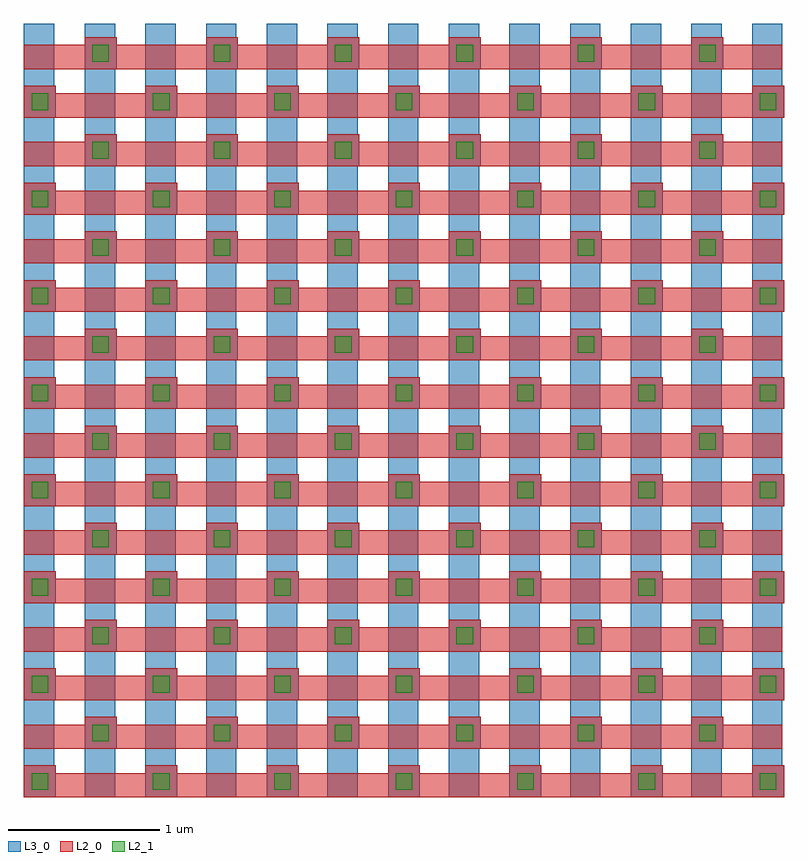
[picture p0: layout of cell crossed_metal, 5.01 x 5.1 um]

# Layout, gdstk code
import gdstk
lib = gdstk.Library(unit=1e-6, precision=1e-09)
def R(c, l, rs):  # rectangles x0, y0, x1, y1
    for r in rs: c.add(gdstk.rectangle(r[:2], r[2:], *l))
def A(c, l, x, y, w, h, nx, ny, dx, dy):  # array of equal rectangles
    R(c, l, [(x+i*dx, y+j*dy, x+i*dx+w, y+j*dy+h) for i in range(nx) for j in range(ny)])
L2_0 = (2, 0)
L2_1 = (2, 1)
L3_0 = (3, 0)

m1_m2__1 = lib.new_cell('M1_M2$$1')
R(m1_m2__1, L2_0, [(0,0,0.21,0.21)])
R(m1_m2__1, L2_1, [(0.05,0.05,0.16,0.16)])
R(m1_m2__1, L3_0, [(0,0,0.21,0.21)])

crossed_metal = lib.new_cell('crossed_metal')
A(crossed_metal, L2_0, 0, 0, 5, 0.16, 1, 16, 0, 0.32)
A(crossed_metal, L3_0, 0, 0, 0.2, 5.1, 13, 1, 0.4, 0)
crossed_metal.add(gdstk.Reference(m1_m2__1, (0,0)))
crossed_metal.add(gdstk.Reference(m1_m2__1, (0.8,0)))
crossed_metal.add(gdstk.Reference(m1_m2__1, (1.6,0)))
crossed_metal.add(gdstk.Reference(m1_m2__1, (2.4,0)))
crossed_metal.add(gdstk.Reference(m1_m2__1, (3.2,0)))
crossed_metal.add(gdstk.Reference(m1_m2__1, (4,0)))
crossed_metal.add(gdstk.Reference(m1_m2__1, (4.8,0)))
crossed_metal.add(gdstk.Reference(m1_m2__1, (0.4,0.32)))
crossed_metal.add(gdstk.Reference(m1_m2__1, (1.2,0.32)))
crossed_metal.add(gdstk.Reference(m1_m2__1, (2,0.32)))
crossed_metal.add(gdstk.Reference(m1_m2__1, (2.8,0.32)))
crossed_metal.add(gdstk.Reference(m1_m2__1, (3.6,0.32)))
crossed_metal.add(gdstk.Reference(m1_m2__1, (4.4,0.32)))
crossed_metal.add(gdstk.Reference(m1_m2__1, (0,0.64)))
crossed_metal.add(gdstk.Reference(m1_m2__1, (0.8,0.64)))
crossed_metal.add(gdstk.Reference(m1_m2__1, (1.6,0.64)))
crossed_metal.add(gdstk.Reference(m1_m2__1, (2.4,0.64)))
crossed_metal.add(gdstk.Reference(m1_m2__1, (3.2,0.64)))
crossed_metal.add(gdstk.Reference(m1_m2__1, (4,0.64)))
crossed_metal.add(gdstk.Reference(m1_m2__1, (4.8,0.64)))
crossed_metal.add(gdstk.Reference(m1_m2__1, (0.4,0.96)))
crossed_metal.add(gdstk.Reference(m1_m2__1, (1.2,0.96)))
crossed_metal.add(gdstk.Reference(m1_m2__1, (2,0.96)))
crossed_metal.add(gdstk.Reference(m1_m2__1, (2.8,0.96)))
crossed_metal.add(gdstk.Reference(m1_m2__1, (3.6,0.96)))
crossed_metal.add(gdstk.Reference(m1_m2__1, (4.4,0.96)))
crossed_metal.add(gdstk.Reference(m1_m2__1, (0,1.28)))
crossed_metal.add(gdstk.Reference(m1_m2__1, (0.8,1.28)))
crossed_metal.add(gdstk.Reference(m1_m2__1, (1.6,1.28)))
crossed_metal.add(gdstk.Reference(m1_m2__1, (2.4,1.28)))
crossed_metal.add(gdstk.Reference(m1_m2__1, (3.2,1.28)))
crossed_metal.add(gdstk.Reference(m1_m2__1, (4,1.28)))
crossed_metal.add(gdstk.Reference(m1_m2__1, (4.8,1.28)))
crossed_metal.add(gdstk.Reference(m1_m2__1, (0.4,1.6)))
crossed_metal.add(gdstk.Reference(m1_m2__1, (1.2,1.6)))
crossed_metal.add(gdstk.Reference(m1_m2__1, (2,1.6)))
crossed_metal.add(gdstk.Reference(m1_m2__1, (2.8,1.6)))
crossed_metal.add(gdstk.Reference(m1_m2__1, (3.6,1.6)))
crossed_metal.add(gdstk.Reference(m1_m2__1, (4.4,1.6)))
crossed_metal.add(gdstk.Reference(m1_m2__1, (0,1.92)))
crossed_metal.add(gdstk.Reference(m1_m2__1, (0.8,1.92)))
crossed_metal.add(gdstk.Reference(m1_m2__1, (1.6,1.92)))
crossed_metal.add(gdstk.Reference(m1_m2__1, (2.4,1.92)))
crossed_metal.add(gdstk.Reference(m1_m2__1, (3.2,1.92)))
crossed_metal.add(gdstk.Reference(m1_m2__1, (4,1.92)))
crossed_metal.add(gdstk.Reference(m1_m2__1, (4.8,1.92)))
crossed_metal.add(gdstk.Reference(m1_m2__1, (0.4,2.24)))
crossed_metal.add(gdstk.Reference(m1_m2__1, (1.2,2.24)))
crossed_metal.add(gdstk.Reference(m1_m2__1, (2,2.24)))
crossed_metal.add(gdstk.Reference(m1_m2__1, (2.8,2.24)))
crossed_metal.add(gdstk.Reference(m1_m2__1, (3.6,2.24)))
crossed_metal.add(gdstk.Reference(m1_m2__1, (4.4,2.24)))
crossed_metal.add(gdstk.Reference(m1_m2__1, (0,2.56)))
crossed_metal.add(gdstk.Reference(m1_m2__1, (0.8,2.56)))
crossed_metal.add(gdstk.Reference(m1_m2__1, (1.6,2.56)))
crossed_metal.add(gdstk.Reference(m1_m2__1, (2.4,2.56)))
crossed_metal.add(gdstk.Reference(m1_m2__1, (3.2,2.56)))
crossed_metal.add(gdstk.Reference(m1_m2__1, (4,2.56)))
crossed_metal.add(gdstk.Reference(m1_m2__1, (4.8,2.56)))
crossed_metal.add(gdstk.Reference(m1_m2__1, (0.4,2.88)))
crossed_metal.add(gdstk.Reference(m1_m2__1, (1.2,2.88)))
crossed_metal.add(gdstk.Reference(m1_m2__1, (2,2.88)))
crossed_metal.add(gdstk.Reference(m1_m2__1, (2.8,2.88)))
crossed_metal.add(gdstk.Reference(m1_m2__1, (3.6,2.88)))
crossed_metal.add(gdstk.Reference(m1_m2__1, (4.4,2.88)))
crossed_metal.add(gdstk.Reference(m1_m2__1, (0,3.2)))
crossed_metal.add(gdstk.Reference(m1_m2__1, (0.8,3.2)))
crossed_metal.add(gdstk.Reference(m1_m2__1, (1.6,3.2)))
crossed_metal.add(gdstk.Reference(m1_m2__1, (2.4,3.2)))
crossed_metal.add(gdstk.Reference(m1_m2__1, (3.2,3.2)))
crossed_metal.add(gdstk.Reference(m1_m2__1, (4,3.2)))
crossed_metal.add(gdstk.Reference(m1_m2__1, (4.8,3.2)))
crossed_metal.add(gdstk.Reference(m1_m2__1, (0.4,3.52)))
crossed_metal.add(gdstk.Reference(m1_m2__1, (1.2,3.52)))
crossed_metal.add(gdstk.Reference(m1_m2__1, (2,3.52)))
crossed_metal.add(gdstk.Reference(m1_m2__1, (2.8,3.52)))
crossed_metal.add(gdstk.Reference(m1_m2__1, (3.6,3.52)))
crossed_metal.add(gdstk.Reference(m1_m2__1, (4.4,3.52)))
crossed_metal.add(gdstk.Reference(m1_m2__1, (0,3.84)))
crossed_metal.add(gdstk.Reference(m1_m2__1, (0.8,3.84)))
crossed_metal.add(gdstk.Reference(m1_m2__1, (1.6,3.84)))
crossed_metal.add(gdstk.Reference(m1_m2__1, (2.4,3.84)))
crossed_metal.add(gdstk.Reference(m1_m2__1, (3.2,3.84)))
crossed_metal.add(gdstk.Reference(m1_m2__1, (4,3.84)))
crossed_metal.add(gdstk.Reference(m1_m2__1, (4.8,3.84)))
crossed_metal.add(gdstk.Reference(m1_m2__1, (0.4,4.16)))
crossed_metal.add(gdstk.Reference(m1_m2__1, (1.2,4.16)))
crossed_metal.add(gdstk.Reference(m1_m2__1, (2,4.16)))
crossed_metal.add(gdstk.Reference(m1_m2__1, (2.8,4.16)))
crossed_metal.add(gdstk.Reference(m1_m2__1, (3.6,4.16)))
crossed_metal.add(gdstk.Reference(m1_m2__1, (4.4,4.16)))
crossed_metal.add(gdstk.Reference(m1_m2__1, (0,4.48)))
crossed_metal.add(gdstk.Reference(m1_m2__1, (0.8,4.48)))
crossed_metal.add(gdstk.Reference(m1_m2__1, (1.6,4.48)))
crossed_metal.add(gdstk.Reference(m1_m2__1, (2.4,4.48)))
crossed_metal.add(gdstk.Reference(m1_m2__1, (3.2,4.48)))
crossed_metal.add(gdstk.Reference(m1_m2__1, (4,4.48)))
crossed_metal.add(gdstk.Reference(m1_m2__1, (4.8,4.48)))
crossed_metal.add(gdstk.Reference(m1_m2__1, (0.4,4.8)))
crossed_metal.add(gdstk.Reference(m1_m2__1, (1.2,4.8)))
crossed_metal.add(gdstk.Reference(m1_m2__1, (2,4.8)))
crossed_metal.add(gdstk.Reference(m1_m2__1, (2.8,4.8)))
crossed_metal.add(gdstk.Reference(m1_m2__1, (3.6,4.8)))
crossed_metal.add(gdstk.Reference(m1_m2__1, (4.4,4.8)))

lib.write_gds('crossed_metal.gds')
